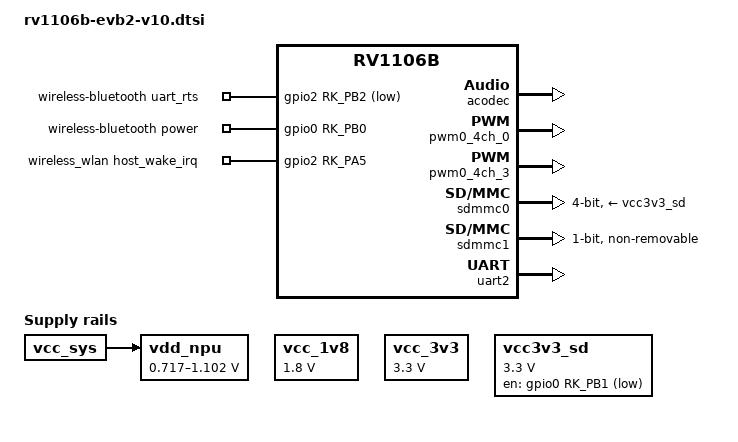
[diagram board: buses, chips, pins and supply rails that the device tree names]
// SPDX-License-Identifier: (GPL-2.0+ OR MIT)
/*
 * Copyright (c) 2024 Rockchip Electronics Co., Ltd.
 */

#include "rv1106b-evb.dtsi"

/ {
	vcc_1v8: vcc-1v8 {
		compatible = "regulator-fixed";
		regulator-name = "vcc_1v8";
		regulator-always-on;
		regulator-boot-on;
		regulator-min-microvolt = <1800000>;
		regulator-max-microvolt = <1800000>;
	};

	vcc_3v3: vcc-3v3 {
		compatible = "regulator-fixed";
		regulator-name = "vcc_3v3";
		regulator-always-on;
		regulator-boot-on;
		regulator-min-microvolt = <3300000>;
		regulator-max-microvolt = <3300000>;
	};

	vcc3v3_sd: vcc3v3-sd {
		compatible = "regulator-fixed";
		gpio = <&gpio0 RK_PB1 GPIO_ACTIVE_LOW>;
		regulator-name = "vcc3v3_sd";
		regulator-min-microvolt = <3300000>;
		regulator-max-microvolt = <3300000>;
		pinctrl-names = "default";
		pinctrl-0 = <&sdmmc_pwren>;
	};

	vdd_npu: vdd_arm: vdd-arm {
		compatible = "pwm-regulator";
		pwms = <&pwm0_4ch_0 0 5000 1>;
		regulator-name = "vdd_arm";
		regulator-min-microvolt = <717000>;
		regulator-max-microvolt = <1102000>;
		regulator-init-microvolt = <950000>;
		regulator-always-on;
		regulator-boot-on;
		regulator-settling-time-up-us = <250>;
		pwm-supply = <&vcc_sys>;
	};

	vdd_logic: vdd-logic {
		compatible = "pwm-regulator";
		pwms = <&pwm0_4ch_3 0 5000 1>;
		regulator-name = "vdd_logic";
		regulator-min-microvolt = <810000>;
		regulator-max-microvolt = <1006000>;
		regulator-init-microvolt = <900000>;
		regulator-always-on;
		regulator-boot-on;
		regulator-settling-time-up-us = <250>;
		pwm-supply = <&vcc_sys>;
		status = "disabled";
	};

	wireless-bluetooth {
		compatible = "bluetooth-platdata";
		uart_rts_gpios = <&gpio2 RK_PB2 GPIO_ACTIVE_LOW>;
		pinctrl-names = "default", "rts_gpio";
		pinctrl-0 = <&uart2m1_rtsn_pins>;
		pinctrl-1 = <&uart2_gpios>;
		BT,power_gpio = <&gpio0 RK_PB0 GPIO_ACTIVE_HIGH>;
		status = "okay";
	};

	wireless_wlan: wireless-wlan {
		compatible = "wlan-platdata";
		rockchip,grf = <&grf>;
		pinctrl-names = "default";
		pinctrl-0 = <&wifi_host_wake_irq>;
		wifi_chip_type = "rk96x";
		WIFI,host_wake_irq = <&gpio2 RK_PA5 GPIO_ACTIVE_HIGH>;
		status = "okay";
	};
};

&acodec {
	#sound-dai-cells = <0>;
	pa-ctl-gpios = <&gpio0 RK_PB4 GPIO_ACTIVE_HIGH>;
	status = "okay";
};

&cpu0 {
	cpu-supply = <&vdd_arm>;
};

&npu {
	rknpu-supply = <&vdd_npu>;
};

&pinctrl {
	sdmmc {
		/omit-if-no-ref/
		sdmmc_pwren: sdmmc-pwren {
			rockchip,pins = <0 RK_PB1 RK_FUNC_GPIO &pcfg_pull_none>;
		};
	};

	wireless-wlan {
		wifi_host_wake_irq: wifi-host-wake-irq {
			rockchip,pins = <2 RK_PA5 RK_FUNC_GPIO &pcfg_pull_none>;
		};
	};

	wireless-bluetooth {
		uart2_gpios: uart2-gpios {
			rockchip,pins = <2 RK_PA4 RK_FUNC_GPIO &pcfg_pull_none>;
		};
	};
};

&pwm0_4ch_0 {
	status = "okay";
};

&pwm0_4ch_3 {
	pinctrl-0 = <&pwm0m1_ch3_pins>;
	status = "okay";
};

&sdmmc0 {
	bus-width = <4>;
	cap-mmc-highspeed;
	cap-sd-highspeed;
	disable-wp;
	no-sdio;
	no-mmc;
	vmmc-supply = <&vcc3v3_sd>;
	status = "okay";
};

&sdmmc1 {
	max-frequency = <50000000>;
	bus-width = <1>;
	cap-sd-highspeed;
	cap-sdio-irq;
	keep-power-in-suspend;
	non-removable;
	no-sd;
	no-mmc;
	pinctrl-names = "default";
	pinctrl-0 = <&sdmmc1_clk_pins &sdmmc1_cmd_pins &sdmmc1_bus1_pins>;
	status = "okay";
};

&uart2 {
	status = "okay";
	pinctrl-names = "default";
	pinctrl-0 = <&uart2m1_xfer_pins &uart2m1_ctsn_pins>;
};
